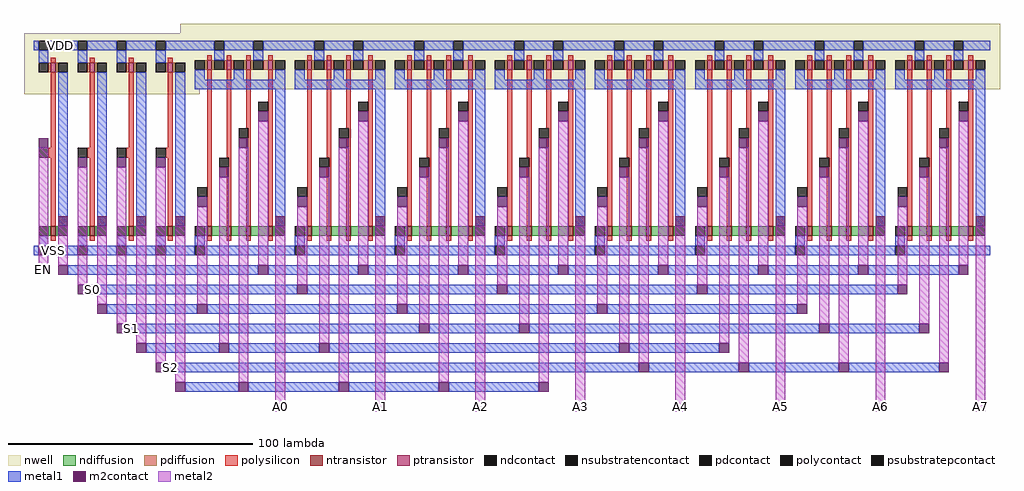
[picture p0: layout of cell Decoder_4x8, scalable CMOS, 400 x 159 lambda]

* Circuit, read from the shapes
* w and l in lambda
.subckt Decoder_4x8 A0 A1 A2 A3 A4 A5 A6 A7 EN S0 S1 S2 VDD VSS
M1 NAND4_0/D EN VSS VSS nfet w=4 l=2
M2 NAND4_0/A S0 VSS VSS nfet w=4 l=2
M3 NAND4_0/B S1 VSS VSS nfet w=4 l=2
M4 NAND4_0/C S2 VSS VSS nfet w=4 l=2
M5 n1 NAND4_0/A VSS VSS nfet w=4 l=2
M6 n2 NAND4_0/B n1 VSS nfet w=4 l=2
M7 n3 NAND4_0/C n2 VSS nfet w=4 l=2
M8 A0 NAND4_0/D n3 VSS nfet w=4 l=2
M9 n4 S0 VSS VSS nfet w=4 l=2
M10 n5 NAND4_0/B n4 VSS nfet w=4 l=2
M11 n6 NAND4_0/C n5 VSS nfet w=4 l=2
M12 A1 NAND4_0/D n6 VSS nfet w=4 l=2
M13 n7 NAND4_0/A VSS VSS nfet w=4 l=2
M14 n8 S1 n7 VSS nfet w=4 l=2
M15 n9 NAND4_0/C n8 VSS nfet w=4 l=2
M16 A2 NAND4_0/D n9 VSS nfet w=4 l=2
M17 n10 S0 VSS VSS nfet w=4 l=2
M18 n11 S1 n10 VSS nfet w=4 l=2
M19 n12 NAND4_0/C n11 VSS nfet w=4 l=2
M20 A3 NAND4_0/D n12 VSS nfet w=4 l=2
M21 n13 NAND4_0/A VSS VSS nfet w=4 l=2
M22 n14 NAND4_0/B n13 VSS nfet w=4 l=2
M23 n15 S2 n14 VSS nfet w=4 l=2
M24 A4 NAND4_0/D n15 VSS nfet w=4 l=2
M25 n16 S0 VSS VSS nfet w=4 l=2
M26 n17 NAND4_0/B n16 VSS nfet w=4 l=2
M27 n18 S2 n17 VSS nfet w=4 l=2
M28 A5 NAND4_0/D n18 VSS nfet w=4 l=2
M29 n19 NAND4_0/A VSS VSS nfet w=4 l=2
M30 n20 S1 n19 VSS nfet w=4 l=2
M31 n21 S2 n20 VSS nfet w=4 l=2
M32 A6 NAND4_0/D n21 VSS nfet w=4 l=2
M33 n22 S0 VSS VSS nfet w=4 l=2
M34 n23 S1 n22 VSS nfet w=4 l=2
M35 n24 S2 n23 VSS nfet w=4 l=2
M36 A7 NAND4_0/D n24 VSS nfet w=4 l=2
M37 NAND4_0/D EN VDD VDD pfet w=4 l=2
M38 NAND4_0/A S0 VDD VDD pfet w=4 l=2
M39 NAND4_0/B S1 VDD VDD pfet w=4 l=2
M40 NAND4_0/C S2 VDD VDD pfet w=4 l=2
M41 VDD NAND4_0/A A0 VDD pfet w=4 l=2
M42 A0 NAND4_0/B VDD VDD pfet w=4 l=2
M43 VDD NAND4_0/C A0 VDD pfet w=4 l=2
M44 A0 NAND4_0/D VDD VDD pfet w=4 l=2
M45 VDD S0 A1 VDD pfet w=4 l=2
M46 A1 NAND4_0/B VDD VDD pfet w=4 l=2
M47 VDD NAND4_0/C A1 VDD pfet w=4 l=2
M48 A1 NAND4_0/D VDD VDD pfet w=4 l=2
M49 VDD NAND4_0/A A2 VDD pfet w=4 l=2
M50 A2 S1 VDD VDD pfet w=4 l=2
M51 VDD NAND4_0/C A2 VDD pfet w=4 l=2
M52 A2 NAND4_0/D VDD VDD pfet w=4 l=2
M53 VDD S0 A3 VDD pfet w=4 l=2
M54 A3 S1 VDD VDD pfet w=4 l=2
M55 VDD NAND4_0/C A3 VDD pfet w=4 l=2
M56 A3 NAND4_0/D VDD VDD pfet w=4 l=2
M57 VDD NAND4_0/A A4 VDD pfet w=4 l=2
M58 A4 NAND4_0/B VDD VDD pfet w=4 l=2
M59 VDD S2 A4 VDD pfet w=4 l=2
M60 A4 NAND4_0/D VDD VDD pfet w=4 l=2
M61 VDD S0 A5 VDD pfet w=4 l=2
M62 A5 NAND4_0/B VDD VDD pfet w=4 l=2
M63 VDD S2 A5 VDD pfet w=4 l=2
M64 A5 NAND4_0/D VDD VDD pfet w=4 l=2
M65 VDD NAND4_0/A A6 VDD pfet w=4 l=2
M66 A6 S1 VDD VDD pfet w=4 l=2
M67 VDD S2 A6 VDD pfet w=4 l=2
M68 A6 NAND4_0/D VDD VDD pfet w=4 l=2
M69 VDD S0 A7 VDD pfet w=4 l=2
M70 A7 S1 VDD VDD pfet w=4 l=2
M71 VDD S2 A7 VDD pfet w=4 l=2
M72 A7 NAND4_0/D VDD VDD pfet w=4 l=2
.ends

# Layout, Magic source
magic
tech scmos
<< metal1 >>
rect -54 84 -42 88
rect -54 0 -42 4
rect -46 -8 32 -4
rect 36 -8 73 -4
rect 77 -8 114 -4
rect 118 -8 155 -4
rect 159 -8 196 -4
rect 200 -8 237 -4
rect 241 -8 278 -4
rect 282 -8 319 -4
rect -38 -16 48 -12
rect 52 -16 130 -12
rect 134 -16 212 -12
rect 216 -16 294 -12
rect -30 -24 7 -20
rect 11 -24 89 -20
rect 93 -24 171 -20
rect 175 -24 253 -20
rect -22 -32 98 -28
rect 102 -32 139 -28
rect 143 -32 262 -28
rect 266 -32 303 -28
rect -14 -40 16 -36
rect 20 -40 57 -36
rect 61 -40 180 -36
rect 184 -40 221 -36
rect -6 -48 188 -44
rect 192 -48 229 -44
rect 233 -48 270 -44
rect 274 -48 311 -44
rect 2 -56 24 -52
rect 28 -56 65 -52
rect 69 -56 106 -52
rect 110 -56 147 -52
<< m2contact >>
rect 32 55 36 59
rect 73 55 77 59
rect 114 55 118 59
rect 155 55 159 59
rect 196 55 200 59
rect 237 55 241 59
rect 278 55 282 59
rect 319 55 323 59
rect -58 44 -54 48
rect 24 44 28 48
rect 65 44 69 48
rect 106 44 110 48
rect 147 44 151 48
rect 188 44 192 48
rect 229 44 233 48
rect 270 44 274 48
rect 311 44 315 48
rect -42 36 -38 40
rect -26 36 -22 40
rect -10 36 -6 40
rect 16 32 20 36
rect 57 32 61 36
rect 98 32 102 36
rect 139 32 143 36
rect 180 32 184 36
rect 221 32 225 36
rect 262 32 266 36
rect 303 32 307 36
rect 7 20 11 24
rect 48 20 52 24
rect 89 20 93 24
rect 130 20 134 24
rect 171 20 175 24
rect 212 20 216 24
rect 253 20 257 24
rect 294 20 298 24
rect -50 12 -46 16
rect -34 12 -30 16
rect -18 12 -14 16
rect -2 12 2 16
rect 39 12 43 16
rect 80 12 84 16
rect 121 12 125 16
rect 162 12 166 16
rect 203 12 207 16
rect 244 12 248 16
rect 285 12 289 16
rect 326 12 330 16
rect -50 -8 -46 -4
rect 32 -8 36 -4
rect 73 -8 77 -4
rect 114 -8 118 -4
rect 155 -8 159 -4
rect 196 -8 200 -4
rect 237 -8 241 -4
rect 278 -8 282 -4
rect 319 -8 323 -4
rect -42 -16 -38 -12
rect 48 -16 52 -12
rect 130 -16 134 -12
rect 212 -16 216 -12
rect 294 -16 298 -12
rect -34 -24 -30 -20
rect 7 -24 11 -20
rect 89 -24 93 -20
rect 171 -24 175 -20
rect 253 -24 257 -20
rect -26 -32 -22 -28
rect 98 -32 102 -28
rect 139 -32 143 -28
rect 262 -32 266 -28
rect 303 -32 307 -28
rect -18 -40 -14 -36
rect 16 -40 20 -36
rect 57 -40 61 -36
rect 180 -40 184 -36
rect 221 -40 225 -36
rect -10 -48 -6 -44
rect 188 -48 192 -44
rect 229 -48 233 -44
rect 270 -48 274 -44
rect 311 -48 315 -44
rect -2 -56 2 -52
rect 24 -56 28 -52
rect 65 -56 69 -52
rect 106 -56 110 -52
rect 147 -56 151 -52
<< metal2 >>
rect -58 -8 -54 44
rect -50 -4 -46 12
rect -42 -12 -38 36
rect -34 -20 -30 12
rect -26 -28 -22 36
rect -18 -36 -14 12
rect -10 -44 -6 36
rect -2 -52 2 12
rect 7 -20 11 20
rect 16 -36 20 32
rect 24 -52 28 44
rect 32 -4 36 55
rect 39 -64 43 12
rect 48 -12 52 20
rect 57 -36 61 32
rect 65 -52 69 44
rect 73 -4 77 55
rect 80 -64 84 12
rect 89 -20 93 20
rect 98 -28 102 32
rect 106 -52 110 44
rect 114 -4 118 55
rect 121 -64 125 12
rect 130 -12 134 20
rect 139 -28 143 32
rect 147 -52 151 44
rect 155 -4 159 55
rect 162 -64 166 12
rect 171 -20 175 20
rect 180 -36 184 32
rect 188 -44 192 44
rect 196 -4 200 55
rect 203 -64 207 12
rect 212 -12 216 20
rect 221 -36 225 32
rect 229 -44 233 44
rect 237 -4 241 55
rect 244 -64 248 12
rect 253 -20 257 20
rect 262 -28 266 32
rect 270 -44 274 44
rect 278 -4 282 55
rect 285 -64 289 12
rect 294 -12 298 20
rect 303 -28 307 32
rect 311 -44 315 44
rect 319 -4 323 55
rect 326 -64 330 12
use INV  INV_0
transform 1 0 -60 0 1 0
box -4 0 20 91
use INV  INV_1
transform 1 0 -44 0 1 0
box -4 0 20 91
use INV  INV_2
transform 1 0 -28 0 1 0
box -4 0 20 91
use INV  INV_3
transform 1 0 -12 0 1 0
box -4 0 20 91
use NAND4  NAND4_0
transform 1 0 4 0 1 0
box -4 0 45 95
use NAND4  NAND4_1
transform 1 0 45 0 1 0
box -4 0 45 95
use NAND4  NAND4_2
transform 1 0 86 0 1 0
box -4 0 45 95
use NAND4  NAND4_3
transform 1 0 127 0 1 0
box -4 0 45 95
use NAND4  NAND4_4
transform 1 0 168 0 1 0
box -4 0 45 95
use NAND4  NAND4_5
transform 1 0 209 0 1 0
box -4 0 45 95
use NAND4  NAND4_6
transform 1 0 250 0 1 0
box -4 0 45 95
use NAND4  NAND4_7
transform 1 0 291 0 1 0
box -4 0 45 95
<< labels >>
rlabel metal2 -56 -6 -56 -6 1 EN
rlabel metal1 -36 -14 -36 -14 1 S0
rlabel metal1 -20 -30 -20 -30 1 S1
rlabel metal1 -4 -46 -4 -46 1 S2
rlabel metal2 41 -62 41 -62 1 A0
rlabel metal2 82 -62 82 -62 1 A1
rlabel metal2 123 -62 123 -62 1 A2
rlabel metal2 164 -62 164 -62 1 A3
rlabel metal2 205 -62 205 -62 1 A4
rlabel metal2 246 -62 246 -62 1 A5
rlabel metal2 287 -62 287 -62 1 A6
rlabel metal2 328 -62 328 -62 1 A7
rlabel metal1 -52 2 -52 2 1 VSS
rlabel metal1 -49 86 -49 86 1 VDD
<< end >>

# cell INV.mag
magic
tech scmos
<< nwell >>
rect -4 66 20 91
<< ntransistor >>
rect 7 8 9 12
<< ptransistor >>
rect 7 75 9 79
<< ndiffusion >>
rect 6 8 7 12
rect 9 8 10 12
<< pdiffusion >>
rect 6 75 7 79
rect 9 75 10 79
<< ndcontact >>
rect 2 8 6 12
rect 10 8 14 12
<< pdcontact >>
rect 2 75 6 79
rect 10 75 14 79
<< psubstratepcontact >>
rect 2 0 6 4
<< nsubstratencontact >>
rect 2 84 6 88
<< polysilicon >>
rect 7 79 9 81
rect 7 44 9 75
rect 6 40 9 44
rect 7 12 9 40
rect 7 6 9 8
<< polycontact >>
rect 2 40 6 44
<< metal1 >>
rect 0 84 2 88
rect 6 84 16 88
rect 2 79 6 84
rect 10 12 14 75
rect 2 4 6 8
rect 0 0 2 4
rect 6 0 16 4
<< labels >>
rlabel metal1 1 2 1 2 2 VSS
rlabel metal1 12 17 12 17 1 Y
rlabel metal1 1 86 1 86 4 VDD
rlabel polycontact 4 42 4 42 1 A
<< end >>

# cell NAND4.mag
magic
tech scmos
<< nwell >>
rect -4 68 45 95
<< ntransistor >>
rect 7 8 9 12
rect 15 8 17 12
rect 23 8 25 12
rect 32 8 34 12
<< ptransistor >>
rect 7 76 9 80
rect 15 76 17 80
rect 23 76 25 80
rect 32 76 34 80
<< ndiffusion >>
rect 6 8 7 12
rect 9 8 15 12
rect 17 8 23 12
rect 25 8 32 12
rect 34 8 35 12
<< pdiffusion >>
rect 6 76 7 80
rect 9 76 10 80
rect 14 76 15 80
rect 17 76 18 80
rect 22 76 23 80
rect 25 76 26 80
rect 30 76 32 80
rect 34 76 35 80
<< ndcontact >>
rect 2 8 6 12
rect 35 8 39 12
<< pdcontact >>
rect 2 76 6 80
rect 10 76 14 80
rect 18 76 22 80
rect 26 76 30 80
rect 35 76 39 80
<< psubstratepcontact >>
rect 2 0 6 4
<< nsubstratencontact >>
rect 10 84 14 88
rect 26 84 30 88
<< polysilicon >>
rect 7 80 9 82
rect 15 80 17 82
rect 23 80 25 82
rect 32 80 34 82
rect 7 12 9 76
rect 15 40 17 76
rect 23 52 25 76
rect 24 48 25 52
rect 16 36 17 40
rect 15 12 17 36
rect 23 12 25 48
rect 32 12 34 76
rect 7 6 9 8
rect 15 6 17 8
rect 23 6 25 8
rect 32 6 34 8
<< polycontact >>
rect 3 24 7 28
rect 28 59 32 63
rect 20 48 24 52
rect 12 36 16 40
<< metal1 >>
rect 0 84 10 88
rect 14 84 26 88
rect 30 84 41 88
rect 10 80 14 84
rect 26 80 30 84
rect 2 72 6 76
rect 18 72 22 76
rect 35 72 39 76
rect 2 68 39 72
rect 35 12 39 68
rect 2 4 6 8
rect 0 0 2 4
rect 6 0 41 4
<< labels >>
rlabel nsubstratencontact 12 86 12 86 1 VDD
rlabel nsubstratencontact 28 86 28 86 1 VDD
rlabel polycontact 5 26 5 26 1 A
rlabel polycontact 14 38 14 38 1 B
rlabel polycontact 22 50 22 50 1 C
rlabel polycontact 30 61 30 61 1 D
rlabel metal1 37 38 37 38 1 Y
rlabel psubstratepcontact 4 2 4 2 1 VSS
<< end >>
